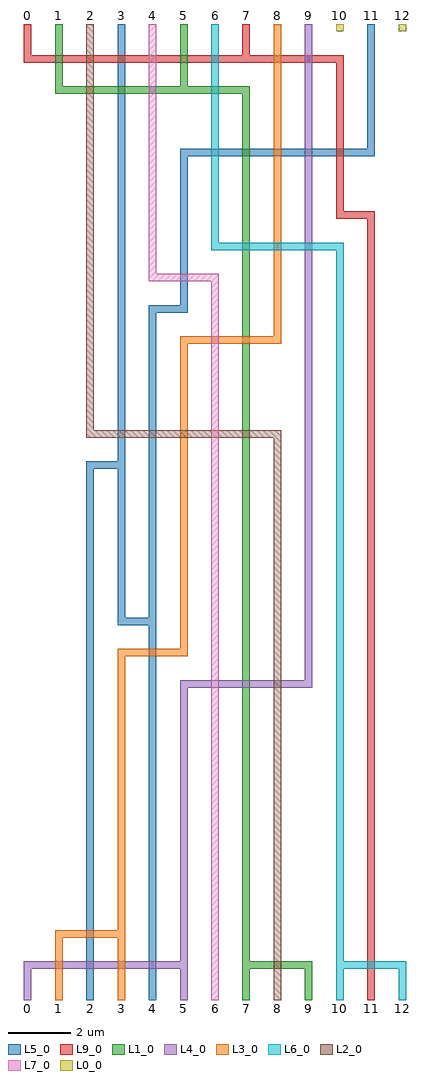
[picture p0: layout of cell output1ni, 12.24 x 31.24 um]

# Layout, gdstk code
import gdstk
lib = gdstk.Library(unit=1e-6, precision=1e-09)
def R(c, l, rs):  # rectangles x0, y0, x1, y1
    for r in rs: c.add(gdstk.rectangle(r[:2], r[2:], *l))
def A(c, l, x, y, w, h, nx, ny, dx, dy):  # array of equal rectangles
    R(c, l, [(x+i*dx, y+j*dy, x+i*dx+w, y+j*dy+h) for i in range(nx) for j in range(ny)])
L0_0 = (0, 0)
L1_0 = (1, 0)
L2_0 = (2, 0)
L3_0 = (3, 0)
L4_0 = (4, 0)
L5_0 = (5, 0)
L6_0 = (6, 0)
L7_0 = (7, 0)
L9_0 = (9, 0)

output1ni = lib.new_cell('output1ni')
R(output1ni, L0_0, [(9.88,30.88,10.12,31.12), (11.88,30.88,12.12,31.12)])
A(output1ni, L1_0, 0.88, 28.88, 1.24, 0.24, 6, 1, 1, 0)
R(output1ni, L1_0, [(6.88,-0.12,7.12,1.12), (6.88,-0.12,7.12,0.12), (8.88,-0.12,9.12,1.12), (8.88,-0.12,9.12,0.12), (6.88,0.88,7.12,29.12), (6.88,0.88,8.12,1.12), (7.88,0.88,9.12,1.12), (0.88,28.88,1.12,31.12), (4.88,28.88,5.12,31.12), (0.88,30.88,1.12,31.12), (4.88,30.88,5.12,31.12)])
A(output1ni, L2_0, 1.88, 17.88, 1.24, 0.24, 6, 1, 1, 0)
R(output1ni, L2_0, [(7.88,-0.12,8.12,2.12), (7.88,-0.12,8.12,0.12), (7.88,1.88,8.12,18.12), (1.88,17.88,2.12,23.12), (1.88,22.88,2.12,28.12), (1.88,27.88,2.12,31.12), (1.88,30.88,2.12,31.12)])
A(output1ni, L3_0, 4.88, 20.88, 1.24, 0.24, 3, 1, 1, 0)
R(output1ni, L3_0, [(0.88,-0.12,1.12,2.12), (0.88,-0.12,1.12,0.12), (2.88,-0.12,3.12,2.12), (2.88,-0.12,3.12,0.12), (0.88,1.88,2.12,2.12), (1.88,1.88,3.12,2.12), (2.88,1.88,3.12,7.12), (2.88,6.88,3.12,11.12), (2.88,10.88,4.12,11.12), (3.88,10.88,5.12,11.12), (4.88,10.88,5.12,16.12), (4.88,15.88,5.12,21.12), (7.88,20.88,8.12,29.12), (7.88,28.88,8.12,31.12), (7.88,30.88,8.12,31.12)])
A(output1ni, L4_0, -0.12, 0.88, 1.24, 0.24, 5, 1, 1, 0)
A(output1ni, L4_0, 4.88, 9.88, 1.24, 0.24, 4, 1, 1, 0)
R(output1ni, L4_0, [(-0.12,-0.12,0.12,1.12), (-0.12,-0.12,0.12,0.12), (4.88,-0.12,5.12,1.12), (4.88,-0.12,5.12,0.12), (4.88,0.88,5.12,6.12), (4.88,5.88,5.12,10.12), (8.88,9.88,9.12,29.12), (8.88,28.88,9.12,31.12), (8.88,30.88,9.12,31.12)])
A(output1ni, L5_0, 4.88, 26.88, 1.24, 0.24, 6, 1, 1, 0)
R(output1ni, L5_0, [(1.88,-0.12,2.12,3.12), (1.88,-0.12,2.12,0.12), (3.88,-0.12,4.12,2.12), (3.88,-0.12,4.12,0.12), (3.88,1.88,4.12,12.12), (1.88,2.88,2.12,8.12), (1.88,7.88,2.12,13.12), (2.88,11.88,3.12,17.12), (2.88,11.88,4.12,12.12), (3.88,11.88,4.12,17.12), (1.88,12.88,2.12,17.12), (1.88,16.88,3.12,17.12), (2.88,16.88,3.12,28.12), (3.88,16.88,4.12,22.12), (3.88,21.88,5.12,22.12), (4.88,21.88,5.12,27.12), (10.88,26.88,11.12,30.12), (2.88,27.88,3.12,31.12), (10.88,29.88,11.12,31.12), (2.88,30.88,3.12,31.12), (10.88,30.88,11.12,31.12)])
A(output1ni, L6_0, 5.88, 23.88, 1.24, 0.24, 4, 1, 1, 0)
R(output1ni, L6_0, [(9.88,-0.12,10.12,1.12), (9.88,-0.12,10.12,0.12), (11.88,-0.12,12.12,1.12), (11.88,-0.12,12.12,0.12), (9.88,0.88,10.12,24.12), (9.88,0.88,11.12,1.12), (10.88,0.88,12.12,1.12), (5.88,23.88,6.12,28.12), (5.88,27.88,6.12,31.12), (5.88,30.88,6.12,31.12)])
R(output1ni, L7_0, [(5.88,-0.12,6.12,1.12), (5.88,-0.12,6.12,0.12), (5.88,0.88,6.12,23.12), (3.88,22.88,4.12,28.12), (3.88,22.88,5.12,23.12), (4.88,22.88,6.12,23.12), (3.88,27.88,4.12,31.12), (3.88,30.88,4.12,31.12)])
A(output1ni, L9_0, -0.12, 29.88, 1.24, 0.24, 10, 1, 1, 0)
R(output1ni, L9_0, [(10.88,-0.12,11.12,2.12), (10.88,-0.12,11.12,0.12), (10.88,1.88,11.12,25.12), (9.88,24.88,10.12,30.12), (9.88,24.88,11.12,25.12), (-0.12,29.88,0.12,31.12), (6.88,29.88,7.12,31.12), (-0.12,30.88,0.12,31.12), (6.88,30.88,7.12,31.12)])
output1ni.add(gdstk.Label('0', (0,31.4), layer=215, texttype=1))
output1ni.add(gdstk.Label('9', (0,31), layer=215, texttype=1))
output1ni.add(gdstk.Label('1', (1,31.4), layer=215, texttype=1))
output1ni.add(gdstk.Label('1', (1,31), layer=215, texttype=1))
output1ni.add(gdstk.Label('2', (2,31.4), layer=215, texttype=1))
output1ni.add(gdstk.Label('2', (2,31), layer=215, texttype=1))
output1ni.add(gdstk.Label('3', (3,31.4), layer=215, texttype=1))
output1ni.add(gdstk.Label('5', (3,31), layer=215, texttype=1))
output1ni.add(gdstk.Label('4', (4,31.4), layer=215, texttype=1))
output1ni.add(gdstk.Label('7', (4,31), layer=215, texttype=1))
output1ni.add(gdstk.Label('5', (5,31.4), layer=215, texttype=1))
output1ni.add(gdstk.Label('1', (5,31), layer=215, texttype=1))
output1ni.add(gdstk.Label('6', (6,31.4), layer=215, texttype=1))
output1ni.add(gdstk.Label('6', (6,31), layer=215, texttype=1))
output1ni.add(gdstk.Label('7', (7,31.4), layer=215, texttype=1))
output1ni.add(gdstk.Label('9', (7,31), layer=215, texttype=1))
output1ni.add(gdstk.Label('8', (8,31.4), layer=215, texttype=1))
output1ni.add(gdstk.Label('3', (8,31), layer=215, texttype=1))
output1ni.add(gdstk.Label('9', (9,31.4), layer=215, texttype=1))
output1ni.add(gdstk.Label('4', (9,31), layer=215, texttype=1))
output1ni.add(gdstk.Label('10', (10,31.4), layer=215, texttype=1))
output1ni.add(gdstk.Label('0', (10,31), layer=215, texttype=1))
output1ni.add(gdstk.Label('11', (11,31.4), layer=215, texttype=1))
output1ni.add(gdstk.Label('5', (11,31), layer=215, texttype=1))
output1ni.add(gdstk.Label('12', (12,31.4), layer=215, texttype=1))
output1ni.add(gdstk.Label('0', (12,31), layer=215, texttype=1))
output1ni.add(gdstk.Label('0', (0,-0.4), layer=215, texttype=1))
output1ni.add(gdstk.Label('4', (0,0), layer=215, texttype=1))
output1ni.add(gdstk.Label('1', (1,-0.4), layer=215, texttype=1))
output1ni.add(gdstk.Label('3', (1,0), layer=215, texttype=1))
output1ni.add(gdstk.Label('2', (2,-0.4), layer=215, texttype=1))
output1ni.add(gdstk.Label('5', (2,0), layer=215, texttype=1))
output1ni.add(gdstk.Label('3', (3,-0.4), layer=215, texttype=1))
output1ni.add(gdstk.Label('3', (3,0), layer=215, texttype=1))
output1ni.add(gdstk.Label('4', (4,-0.4), layer=215, texttype=1))
output1ni.add(gdstk.Label('5', (4,0), layer=215, texttype=1))
output1ni.add(gdstk.Label('5', (5,-0.4), layer=215, texttype=1))
output1ni.add(gdstk.Label('4', (5,0), layer=215, texttype=1))
output1ni.add(gdstk.Label('6', (6,-0.4), layer=215, texttype=1))
output1ni.add(gdstk.Label('7', (6,0), layer=215, texttype=1))
output1ni.add(gdstk.Label('7', (7,-0.4), layer=215, texttype=1))
output1ni.add(gdstk.Label('1', (7,0), layer=215, texttype=1))
output1ni.add(gdstk.Label('8', (8,-0.4), layer=215, texttype=1))
output1ni.add(gdstk.Label('2', (8,0), layer=215, texttype=1))
output1ni.add(gdstk.Label('9', (9,-0.4), layer=215, texttype=1))
output1ni.add(gdstk.Label('1', (9,0), layer=215, texttype=1))
output1ni.add(gdstk.Label('10', (10,-0.4), layer=215, texttype=1))
output1ni.add(gdstk.Label('6', (10,0), layer=215, texttype=1))
output1ni.add(gdstk.Label('11', (11,-0.4), layer=215, texttype=1))
output1ni.add(gdstk.Label('9', (11,0), layer=215, texttype=1))
output1ni.add(gdstk.Label('12', (12,-0.4), layer=215, texttype=1))
output1ni.add(gdstk.Label('6', (12,0), layer=215, texttype=1))

lib.write_gds('output1ni.gds')
